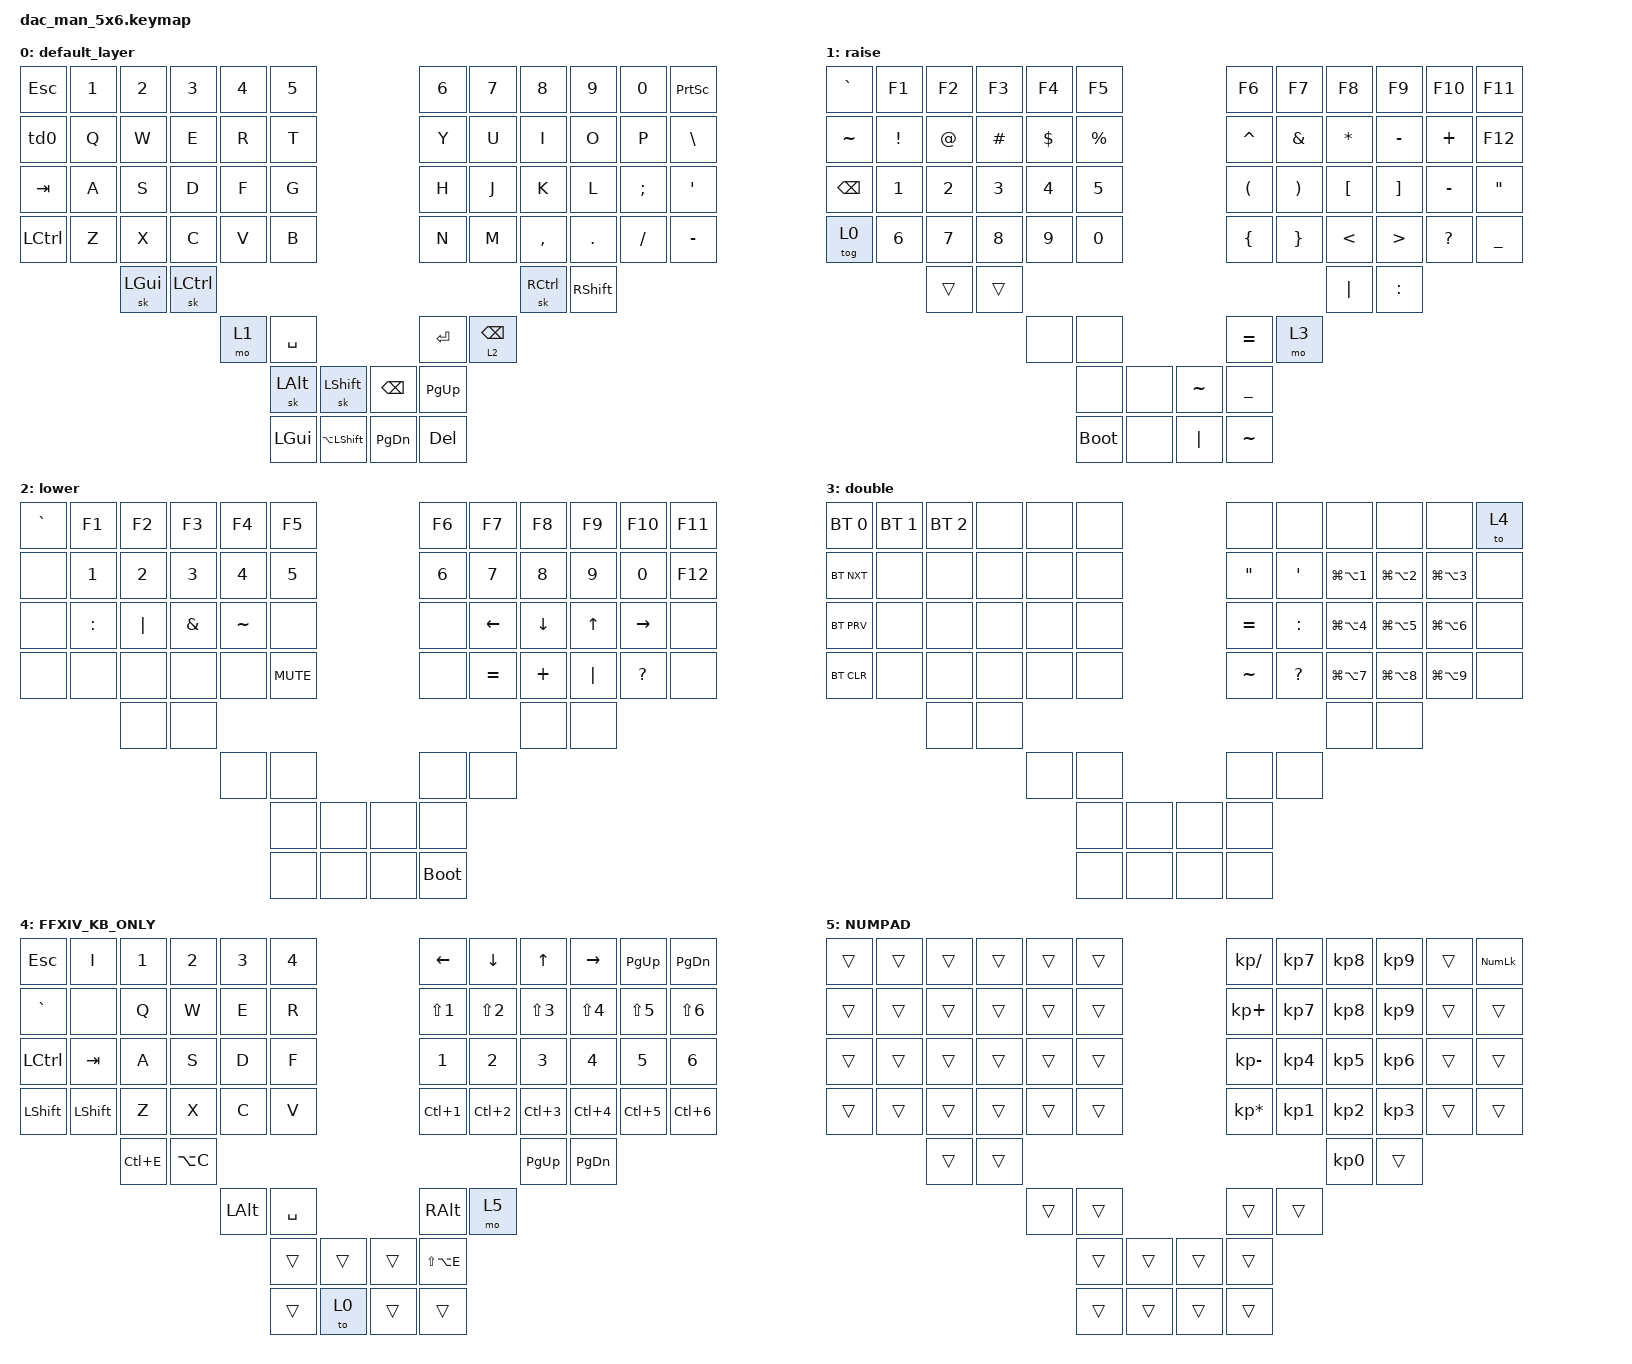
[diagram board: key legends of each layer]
#include <behaviors.dtsi>
#include <dt-bindings/zmk/bt.h>
#include <dt-bindings/zmk/keys.h>

#define DEFAULT 0
#define RAISE   1
#define LOWER   3
#define QUICK   2
#define DOUBLE  4

&sk {
    release-after-ms = <350>;
    quick-release;
    ignore-modifiers;
};

/ {
    behaviors {
        qk: hold_tap {
            compatible = "zmk,behavior-hold-tap";
            label = "QUICK_HOLD_TAP";
            #binding-cells = <2>;
            tapping-term-ms = <175>;
            quick-tap-ms = <175>;
            flavor = "tap-preferred";
            global-quick-tap;
            bindings = <&kp>, <&kp>;
        };

        td0: tap_dance_0 {
            compatible = "zmk,behavior-tap-dance";
            label = "TAP_DANCE_0";
            #binding-cells = <0>;
            tapping-term-ms = <150>;
            bindings = <&kp GRAVE>, <&kp TILDE>;
        };
    };

    keymap {
        compatible = "zmk,keymap";

        default_layer {
            bindings = <
&kp ESC    &kp N1  &kp N2        &kp N3     &kp N4  &kp N5                                           &kp N6      &kp N7           &kp N8     &kp N9           &kp N0         &kp PRINTSCREEN
&td0       &kp Q   &kp W         &kp E      &kp R   &kp T                                            &kp Y       &kp U            &kp I      &kp O            &kp P          &kp BSLH
&kp TAB    &kp A   &kp S         &kp D      &kp F   &kp G                                            &kp H       &kp J            &kp K      &kp L            &kp SEMICOLON  &kp SQT
&kp LCTRL  &kp Z   &kp X         &kp C      &kp V   &kp B                                            &kp N       &kp M            &kp COMMA  &kp DOT          &kp FSLH       &kp MINUS
                   &sk LEFT_GUI  &sk LCTRL                                                                                        &sk RCTRL  &kp RIGHT_SHIFT
                                            &mo 1   &kp SPACE                                        &kp ENTER   &lt 2 BACKSPACE
                                                    &sk LEFT_ALT  &sk LSHIFT          &kp BSPC       &kp PG_UP
                                                    &kp LEFT_GUI  &kp LA(LEFT_SHIFT)  &kp PAGE_DOWN  &kp DELETE
            >;
        };

        raise {
            bindings = <
&kp GRAVE      &kp F1        &kp F2        &kp F3        &kp F4        &kp F5                          &kp F6          &kp F7           &kp F8            &kp F9             &kp F10       &kp F11
&kp TILDE      &kp EXCL      &kp AT        &kp HASH      &kp DOLLAR    &kp PERCENT                     &kp CARET       &kp AMPERSAND    &kp ASTERISK      &kp MINUS          &kp PLUS      &kp F12
&kp BACKSPACE  &kp NUMBER_1  &kp NUMBER_2  &kp NUMBER_3  &kp NUMBER_4  &kp NUMBER_5                    &kp LPAR        &kp RPAR         &kp LEFT_BRACKET  &kp RIGHT_BRACKET  &kp MINUS     &kp DOUBLE_QUOTES
&tog 0         &kp NUMBER_6  &kp NUMBER_7  &kp NUMBER_8  &kp NUMBER_9  &kp NUMBER_0                    &kp LEFT_BRACE  &kp RIGHT_BRACE  &kp LESS_THAN     &kp GREATER_THAN   &kp QUESTION  &kp UNDER
                             &trans        &trans                                                                                       &kp PIPE          &kp COLON
                                                         &none         &none                           &kp EQUAL       &mo 3
                                                                       &none         &none  &kp TILDE  &kp UNDER
                                                                       &bootloader   &none  &kp PIPE   &kp TILDE
            >;
        };

        lower {
            bindings = <
&kp GRAVE  &kp F1        &kp F2    &kp F3         &kp F4     &kp F5                    &kp F6       &kp F7     &kp F8    &kp F9    &kp F10       &kp F11
&none      &kp NUMBER_1  &kp N2    &kp N3         &kp N4     &kp N5                    &kp N6       &kp N7     &kp N8    &kp N9    &kp N0        &kp F12
&none      &kp COLON     &kp PIPE  &kp AMPERSAND  &kp TILDE  &none                     &none        &kp LEFT   &kp DOWN  &kp UP    &kp RIGHT     &none
&none      &none         &none     &none          &none      &kp C_MUTE                &none        &kp EQUAL  &kp PLUS  &kp PIPE  &kp QUESTION  &none
                         &none     &none                                                                       &none     &none
                                                  &none      &none                     &none        &none
                                                             &none       &none  &none  &none
                                                             &none       &none  &none  &bootloader
            >;
        };

        double {
            bindings = <
&bt BT_SEL 0  &bt BT_SEL 1  &bt BT_SEL 2  &none  &none  &none                &none              &none      &none                 &none                 &none                 &to 4
&bt BT_NXT    &none         &none         &none  &none  &none                &kp DOUBLE_QUOTES  &kp APOS   &kp LG(LA(NUMBER_1))  &kp LG(LA(NUMBER_2))  &kp LG(LA(NUMBER_3))  &none
&bt BT_PRV    &none         &none         &none  &none  &none                &kp EQUAL          &kp COLON  &kp LG(LA(NUMBER_4))  &kp LG(LA(NUMBER_5))  &kp LG(LA(NUMBER_6))  &none
&bt BT_CLR    &none         &none         &none  &none  &none                &kp TILDE          &kp QMARK  &kp LG(LA(NUMBER_7))  &kp LG(LA(NUMBER_8))  &kp LG(LA(NUMBER_9))  &none
                            &none         &none                                                            &none                 &none
                                                 &none  &none                &none              &none
                                                        &none  &none  &none  &none
                                                        &none  &none  &none  &none
            >;
        };

        FFXIV_KB_ONLY {
            bindings = <
&kp ESCAPE        &kp I      &kp N1     &kp N2     &kp N3        &kp N4                     &kp LEFT          &kp DOWN          &kp UP            &kp RIGHT         &kp PG_UP   &kp PG_DN
&kp GRAVE         &none      &kp Q      &kp W      &kp E         &kp R                      &kp LS(NUMBER_1)  &kp LS(NUMBER_2)  &kp LS(NUMBER_3)  &kp LS(NUMBER_4)  &kp LS(N5)  &kp LS(NUMBER_6)
&kp LEFT_CONTROL  &kp TAB    &kp A      &kp S      &kp D         &kp F                      &kp N1            &kp N2            &kp N3            &kp N4            &kp N5      &kp N6
&kp LEFT_SHIFT    &kp LSHFT  &kp Z      &kp X      &kp C         &kp V                      &kp LC(N1)        &kp LC(N2)        &kp LC(N3)        &kp LC(N4)        &kp LC(N5)  &kp LC(N6)
                             &kp LC(E)  &kp LA(C)                                                                               &kp PG_UP         &kp PG_DN
                                                   &kp LEFT_ALT  &kp SPACE                  &kp RIGHT_ALT     &mo 5
                                                                 &trans     &trans  &trans  &kp LS(LA(E))
                                                                 &trans     &to 0   &trans  &trans
            >;
        };

        NUMPAD {
            bindings = <
&trans  &trans  &trans  &trans  &trans  &trans                  &kp KP_DIVIDE    &kp KP_NUMBER_7  &kp KP_NUMBER_8  &kp KP_NUMBER_9  &trans  &kp KP_NUMLOCK
&trans  &trans  &trans  &trans  &trans  &trans                  &kp KP_PLUS      &kp KP_NUMBER_7  &kp KP_NUMBER_8  &kp KP_NUMBER_9  &trans  &trans
&trans  &trans  &trans  &trans  &trans  &trans                  &kp KP_MINUS     &kp KP_NUMBER_4  &kp KP_NUMBER_5  &kp KP_NUMBER_6  &trans  &trans
&trans  &trans  &trans  &trans  &trans  &trans                  &kp KP_MULTIPLY  &kp KP_NUMBER_1  &kp KP_NUMBER_2  &kp KP_NUMBER_3  &trans  &trans
                &trans  &trans                                                                    &kp KP_NUMBER_0  &trans
                                &trans  &trans                  &trans           &trans
                                        &trans  &trans  &trans  &trans
                                        &trans  &trans  &trans  &trans
            >;
        };
    };
};
